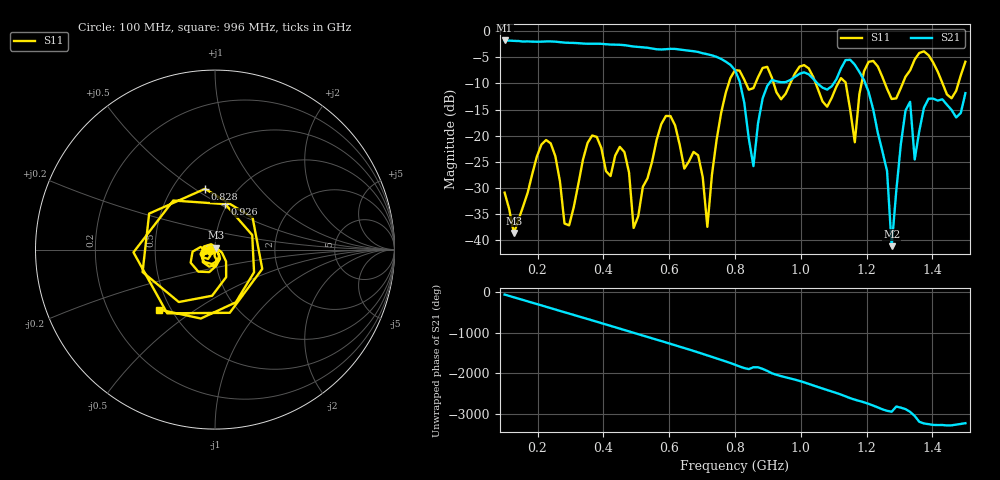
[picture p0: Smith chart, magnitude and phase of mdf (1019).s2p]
! NanoVNA-App
! Date: 2025-09-25 15:46:21
! Start: 100MHz Stop: 1,5GHz Points: 101
! S-Parameter data: F S11 S21 S12 S22
# Hz S RI R 50
!  Frequency  S11_Real  S11_Imag  S21_Real  S21_Imag  S12_Real  S12_Imag  S22_Real  S22_Imag
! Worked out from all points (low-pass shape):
!   101 points, 100 MHz to 1.5 GHz, reference 50 ohm
!   highest |S21| = -1.81 dB at 100 MHz (marker M1); lowest = -41.1 dB at 1.276 GHz (marker M2)
!   |S21| within 3 dB of the highest: start of sweep to 737.4 MHz
!   lowest |S11| = -38.6 dB at 128 MHz (marker M3), VSWR 1.02, Z = 50.4 + j1.11 ohm
!   |S11| at or under -10 dB: start of sweep to 781 MHz; 917.5 MHz to 968.1 MHz (50.62 MHz wide, 5.37 % of centre); 1.045 GHz to 1.113 GHz (68.22 MHz wide, 6.32 % of centre) (the widest 3 of 7)
!   S12 and S22 are empty: the file has one direction only
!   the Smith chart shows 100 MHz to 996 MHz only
!   S11 on the Smith chart (normalised r, x): 100 MHz: 0.94, -0.01; 828 MHz: 0.72, +0.55; 926 MHz: 0.98, +0.53; 996 MHz: 0.43, -0.37
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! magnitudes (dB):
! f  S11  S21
! 100 MHz  -30.9  -1.8
! 128 MHz  -38.6  -1.9
! 212 MHz  -21.7  -2.0
! 296 MHz  -37.1  -2.3
! 338 MHz  -24.6  -2.4
! 464 MHz  -23.1  -2.7
! 492 MHz  -37.6  -3.0
! 576 MHz  -17.8  -3.5
! 688 MHz  -23.7  -4.0
! 716 MHz  -37.4  -4.4
! 800 MHz  -7.5  -7.5
! 828 MHz  -9.3  -13.7
! 856 MHz  -10.9  -25.8
! 926 MHz  -11.7  -9.6
! 996 MHz  -6.8  -8.2
! 1.038 GHz  -8.8  -9.1
! 1.164 GHz  -21.3  -6.4
! 1.192 GHz  -7.7  -9.4
! 1.276 GHz  -13.0  -41.1
! 1.318 GHz  -8.7  -15.2
! 1.346 GHz  -5.5  -24.6
! 1.5 GHz  -5.9  -11.9
